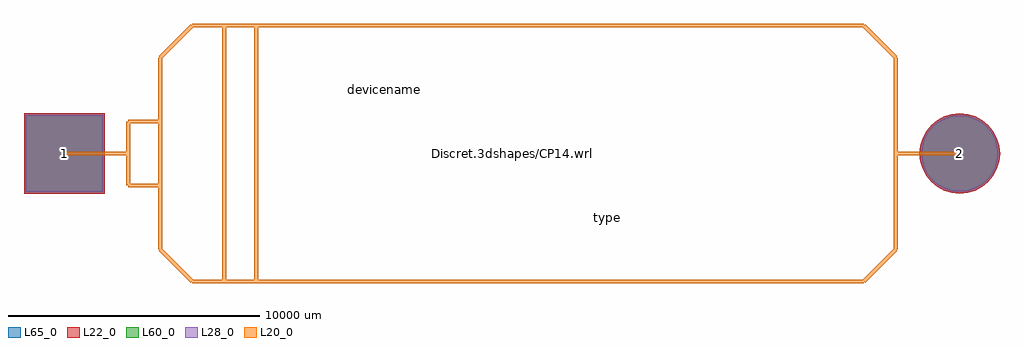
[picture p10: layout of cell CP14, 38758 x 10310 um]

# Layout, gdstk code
import gdstk
lib = gdstk.Library(unit=1e-6, precision=1e-09)
def R(c, l, rs):  # rectangles x0, y0, x1, y1
    for r in rs: c.add(gdstk.rectangle(r[:2], r[2:], *l))
def P(c, l, *ps):  # polygons
    for p in ps: c.add(gdstk.Polygon(p, *l))
L20_0 = (20, 0)
L22_0 = (22, 0)
L28_0 = (28, 0)
L60_0 = (60, 0)
L65_0 = (65, 0)

cp14 = lib.new_cell('CP14')
R(cp14, L22_0, [(-19379,-1599,-16181,1599)])
P(cp14, L22_0, [(19379,0),(19348.276,311.949),(19257.283,611.911),(19109.52,888.357),(18910.664,1130.664),(18668.357,1329.52),(18391.911,1477.283),(18091.949,1568.276),(17780,1599),(17468.051,1568.276),(17168.089,1477.283),(16891.643,1329.52),(16649.336,1130.664),(16450.48,888.357),(16302.717,611.911),(16211.724,311.949),(16181,0),(16211.724,-311.949),(16302.717,-611.911),(16450.48,-888.357),(16649.336,-1130.664),(16891.643,-1329.52),(17168.089,-1477.283),(17468.051,-1568.276),(17780,-1599),(18091.949,-1568.276),(18391.911,-1477.283),(18668.357,-1329.52),(18910.664,-1130.664),(19109.52,-888.357),(19257.283,-611.911),(19348.276,-311.949)])
R(cp14, L28_0, [(-19304,-1524,-16256,1524)])
P(cp14, L28_0, [(19304,0),(19274.717,297.318),(19187.992,583.21),(19047.16,846.689),(18857.631,1077.631),(18626.689,1267.16),(18363.21,1407.992),(18077.318,1494.717),(17780,1524),(17482.682,1494.717),(17196.79,1407.992),(16933.311,1267.16),(16702.369,1077.631),(16512.84,846.689),(16372.008,583.21),(16285.283,297.318),(16256,0),(16285.283,-297.318),(16372.008,-583.21),(16512.84,-846.689),(16702.369,-1077.631),(16933.311,-1267.16),(17196.79,-1407.992),(17482.682,-1494.717),(17780,-1524),(18077.318,-1494.717),(18363.21,-1407.992),(18626.689,-1267.16),(18857.631,-1077.631),(19047.16,-846.689),(19187.992,-583.21),(19274.717,-297.318)])
R(cp14, L60_0, [(-19304,-1524,-16256,1524)])
P(cp14, L60_0, [(19304,0),(19274.717,297.318),(19187.992,583.21),(19047.16,846.689),(18857.631,1077.631),(18626.689,1267.16),(18363.21,1407.992),(18077.318,1494.717),(17780,1524),(17482.682,1494.717),(17196.79,1407.992),(16933.311,1267.16),(16702.369,1077.631),(16512.84,846.689),(16372.008,583.21),(16285.283,297.318),(16256,0),(16285.283,-297.318),(16372.008,-583.21),(16512.84,-846.689),(16702.369,-1077.631),(16933.311,-1267.16),(17196.79,-1407.992),(17482.682,-1494.717),(17780,-1524),(18077.318,-1494.717),(18363.21,-1407.992),(18626.689,-1267.16),(18857.631,-1077.631),(19047.16,-846.689),(19187.992,-583.21),(19274.717,-297.318)])
R(cp14, L65_0, [(-19379,-1599,-16181,1599)])
P(cp14, L65_0, [(19379,0),(19348.276,311.949),(19257.283,611.911),(19109.52,888.357),(18910.664,1130.664),(18668.357,1329.52),(18391.911,1477.283),(18091.949,1568.276),(17780,1599),(17468.051,1568.276),(17168.089,1477.283),(16891.643,1329.52),(16649.336,1130.664),(16450.48,888.357),(16302.717,611.911),(16211.724,311.949),(16181,0),(16211.724,-311.949),(16302.717,-611.911),(16450.48,-888.357),(16649.336,-1130.664),(16891.643,-1329.52),(17168.089,-1477.283),(17468.051,-1568.276),(17780,-1599),(18091.949,-1568.276),(18391.911,-1477.283),(18668.357,-1329.52),(18910.664,-1130.664),(19109.52,-888.357),(19257.283,-611.911),(19348.276,-311.949)])
cp14.add(gdstk.FlexPath([(-11430,-5080),(-11430,5080)], 149.998, ends="flush", simple_path=True, layer=20, datatype=0))  # L20_0
cp14.add(gdstk.FlexPath([(-15240,0),(-17780,0)], 149.998, ends="flush", simple_path=True, layer=20, datatype=0))  # L20_0
cp14.add(gdstk.FlexPath([(-15240,-1270),(-13970,-1270)], 149.998, ends="flush", simple_path=True, layer=20, datatype=0))  # L20_0
cp14.add(gdstk.FlexPath([(-15240,1270),(-15240,-1270)], 149.998, ends="flush", simple_path=True, layer=20, datatype=0))  # L20_0
cp14.add(gdstk.FlexPath([(-13970,1270),(-15240,1270)], 149.998, ends="flush", simple_path=True, layer=20, datatype=0))  # L20_0
cp14.add(gdstk.FlexPath([(-10160,-5080),(-10160,5080)], 149.998, ends="flush", simple_path=True, layer=20, datatype=0))  # L20_0
cp14.add(gdstk.FlexPath([(-13970,-3810),(-13970,3810)], 149.998, ends="flush", simple_path=True, layer=20, datatype=0))  # L20_0
cp14.add(gdstk.FlexPath([(-12700,-5080),(-13970,-3810)], 149.998, ends="flush", simple_path=True, layer=20, datatype=0))  # L20_0
cp14.add(gdstk.FlexPath([(13970,-5080),(-12700,-5080)], 149.998, ends="flush", simple_path=True, layer=20, datatype=0))  # L20_0
cp14.add(gdstk.FlexPath([(15240,-3810),(13970,-5080)], 149.998, ends="flush", simple_path=True, layer=20, datatype=0))  # L20_0
cp14.add(gdstk.FlexPath([(15240,3810),(15240,-3810)], 149.998, ends="flush", simple_path=True, layer=20, datatype=0))  # L20_0
cp14.add(gdstk.FlexPath([(13970,5080),(15240,3810)], 149.998, ends="flush", simple_path=True, layer=20, datatype=0))  # L20_0
cp14.add(gdstk.FlexPath([(-12700,5080),(13970,5080)], 149.998, ends="flush", simple_path=True, layer=20, datatype=0))  # L20_0
cp14.add(gdstk.FlexPath([(-13970,3810),(-12700,5080)], 149.998, ends="flush", simple_path=True, layer=20, datatype=0))  # L20_0
cp14.add(gdstk.FlexPath([(15240,0),(17780,0)], 149.998, ends="flush", simple_path=True, layer=20, datatype=0))  # L20_0
cp14.add(gdstk.Label('Discret.3dshapes/CP14.wrl', (0,0), layer=12, texttype=0))
cp14.add(gdstk.Label('2', (17780,0), layer=28, texttype=0))
cp14.add(gdstk.Label('1', (-17780,0), layer=28, texttype=0))
cp14.add(gdstk.Label('type', (3810,-2540), layer=9, texttype=0))
cp14.add(gdstk.Label('devicename', (-5080,2540), layer=9, texttype=0))

lib.write_gds('CP14.gds')
